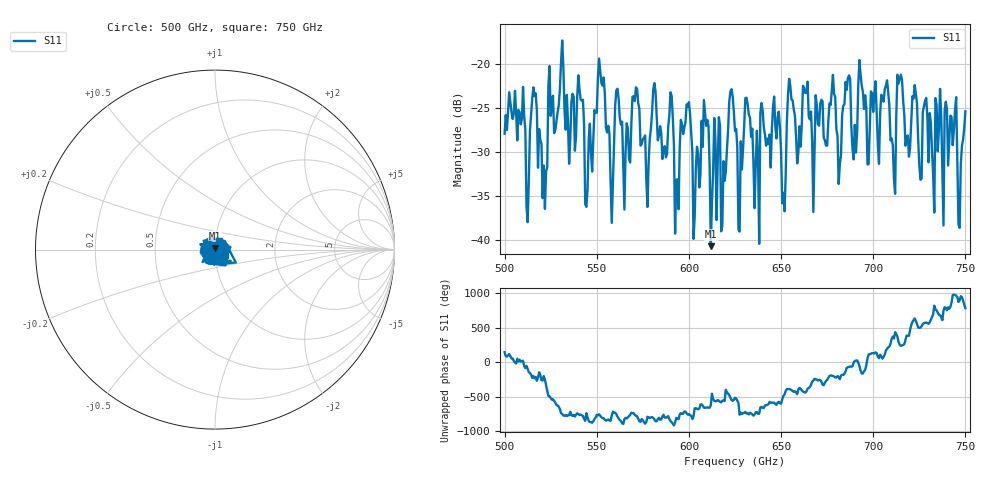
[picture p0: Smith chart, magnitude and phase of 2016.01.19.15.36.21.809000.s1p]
!Created with skrf (http://scikit-rf.org).
# GHz S RI R 50.0
!freq ReS11 ImS11
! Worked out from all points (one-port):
!   401 points, 500 GHz to 750 GHz, reference 50 ohm
!   lowest |S11| = -40.7 dB at 611.9 GHz (marker M1), VSWR 1.02, Z = 49.9 + j0.922 ohm
!   |S11| at or under -10 dB: start of sweep to end of sweep
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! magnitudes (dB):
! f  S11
! 500 GHz  -27.9
! 512.5 GHz  -37.9
! 516.2 GHz  -23.6
! 521.9 GHz  -36.4
! 531.2 GHz  -17.3
! 544.4 GHz  -36.2
! 551.9 GHz  -20.8
! 558.1 GHz  -38.0
! 562.5 GHz  -26.1
! 590 GHz  -23.2
! 593.8 GHz  -33.1
! 599.4 GHz  -24.8
! 611.9 GHz  -40.7
! 625 GHz  -27.6
! 628.1 GHz  -28.8
! 631.2 GHz  -23.8
! 636.9 GHz  -27.6
! 647.5 GHz  -28.4
! 651.2 GHz  -34.6
! 656.2 GHz  -24.1
! 687.5 GHz  -21.7
! 707.5 GHz  -21.8
! 710.6 GHz  -29.2
! 714.4 GHz  -21.7
! 718.8 GHz  -28.1
! 743.8 GHz  -27.5
! 746.9 GHz  -38.6
! 750 GHz  -25.3
